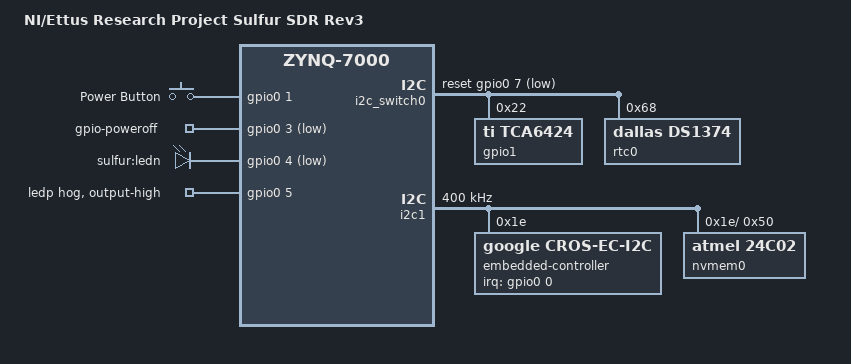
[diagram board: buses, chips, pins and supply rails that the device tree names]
/*
 * Copyright (c) 2016,2017 National Instruments Corp.
 *
 * SPDX-License-Identifier: (GPL-2.0 OR X11)
 */

/dts-v1/;
#include <dt-bindings/input/input.h>
#include <dt-bindings/interrupt-controller/irq.h>
#include "zynq-ni-sulfur.dtsi"

/ {
	model = "NI/Ettus Research Project Sulfur SDR Rev3";
	compatible = "ettus,zynq-sulfur-rev3", "xlnx,zynq-7000";

	gpio-keys {
		compatible = "gpio-keys";
		#address-cells = <1>;
		#size-cells = <0>;

		power-button {
			label = "Power Button";
			linux,code = <KEY_POWER>;
			gpios = <&gpio0 1 GPIO_ACTIVE_HIGH>;
		};
	};

	gpio-poweroff {
		compatible = "gpio-poweroff";
		gpios = <&gpio0 3 GPIO_ACTIVE_LOW>;
	};

	leds {
		led0 {
			label = "sulfur:ledn";
			gpios = <&gpio0 4 GPIO_ACTIVE_LOW>;
			linux,default-trigger = "heartbeat";
		};
	};
};

&i2c_switch0 {
	reset-gpios = <&gpio0 7 GPIO_ACTIVE_LOW>;

	i2c@3 {
		reg = <3>;
		#address-cells = <1>;
		#size-cells = <0>;

		gpio1: gpio@22 {
			compatible = "ti,tca6424";
			reg = <0x22>;
			gpio-controller;
			#gpio-cells = <2>;
		};
	};

	i2c@5 {
		reg = <5>;
		status = "okay";
		#address-cells = <1>;
		#size-cells = <0>;

		rtc0: rtc@68 {
			compatible = "dallas,ds1374";
			reg = <0x68>;
		};
	};

};

&i2c1 {
	clock-frequency = <400000>;
	status = "okay";

	embedded-controller@1e {
		reg = <0x1e>;
		compatible = "google,cros-ec-i2c";
		interrupts = <0 IRQ_TYPE_LEVEL_LOW>;
		interrupt-parent = <&gpio0>;
		google,has-vbc-nvram;

		wakeup-source;

		tun: i2c-tunnel {
			compatible = "google,cros-ec-i2c-tunnel";
			#address-cells = <1>;
			#size-cells = <0>;
			google,remote-bus = <0>;
			clock-frequency = <50000>;

			nvmem0: eeprom@50 {
				compatible = "atmel,24c02";
				reg = <0x50>;
			};
		};
	};
};

&gpio0 {
	ledp {
		gpio-hog;
		gpios = <5 GPIO_ACTIVE_HIGH>;
		output-high;
	};
};

&ethernet_phy0 {
	reset-gpios = <&gpio0 50 GPIO_ACTIVE_LOW>;
};

&usb_phy0 {
	reset-gpios = <&gpio0 51 GPIO_ACTIVE_LOW>;
};

&clkc {
	ps-clk-frequency = <33333333>;
};
